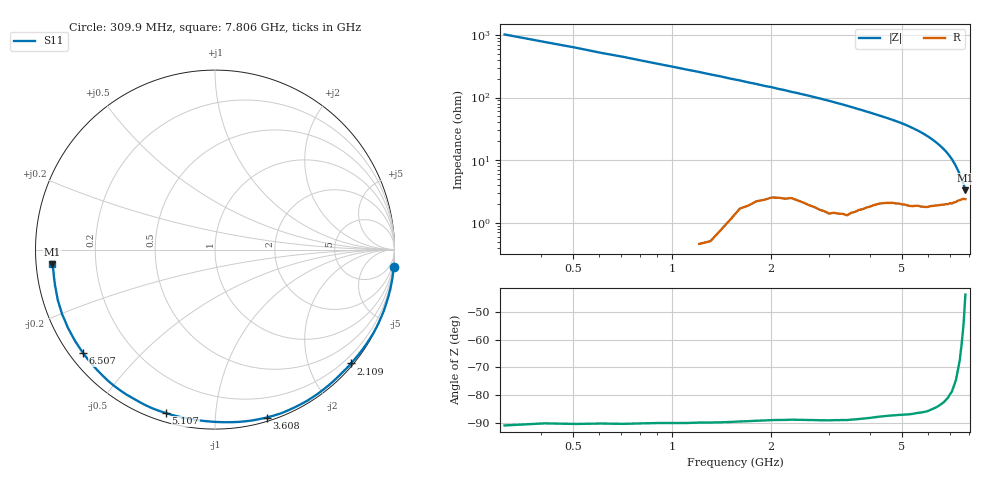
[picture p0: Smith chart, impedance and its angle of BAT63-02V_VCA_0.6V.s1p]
! Infineon Technologies  Discrete & RF Semiconductors
! BAT63-02V
! VCA = 0.6 V
! One-Port S-Parameters
# Hz  S  MA  R  50
!f  S11
!Hz  Mag  Ang
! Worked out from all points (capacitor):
!   76 points, 309.9 MHz to 7.806 GHz, reference 50 ohm
!   read as one part to ground: C = 501 fF near 309.9 MHz
!   lowest |Z| = 3.28 ohm at 7.806 GHz (marker M1)
!   S11 on the Smith chart (normalised r, x): 309.9 MHz: -0, -20; 2.109 GHz: 0.05, -2.75; 3.608 GHz: 0.03, -1.36; 5.107 GHz: 0.04, -0.74; 6.507 GHz: 0.04, -0.35; 7.806 GHz: 0.05, -0.05
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3.0985e8  1.002 -5.6
7.0965e8  1.001 -12.7
1.0095e9  1 -18.3
1.30935e9  0.9991 -24.1
1.6092e9  0.9956 -29.8
1.90905e9  0.9912 -36.0
2.009e9  0.9895 -37.7
2.10895e9  0.9884 -39.9
2.2089e9  0.9878 -41.8
2.6087e9  0.9864 -50.1
2.90855e9  0.9863 -56.7
3.2084e9  0.9847 -63.5
3.4083e9  0.9837 -68.1
3.6082e9  0.9792 -72.8
3.8081e9  0.9745 -77.5
4.10795e9  0.9661 -84.4
4.50775e9  0.957 -93.2
5.0075e9  0.9521 -104.5
5.10745e9  0.9509 -106.8
5.4073e9  0.9494 -114.1
5.6072e9  0.9461 -118.9
6.007e9  0.9434 -129.0
6.2069e9  0.9389 -134.2
6.50675e9  0.934 -141.8
6.90655e9  0.9281 -151.9
7.10645e9  0.9248 -157.1
7.30635e9  0.9198 -162.4
7.8061e9  0.9095 -174.8
